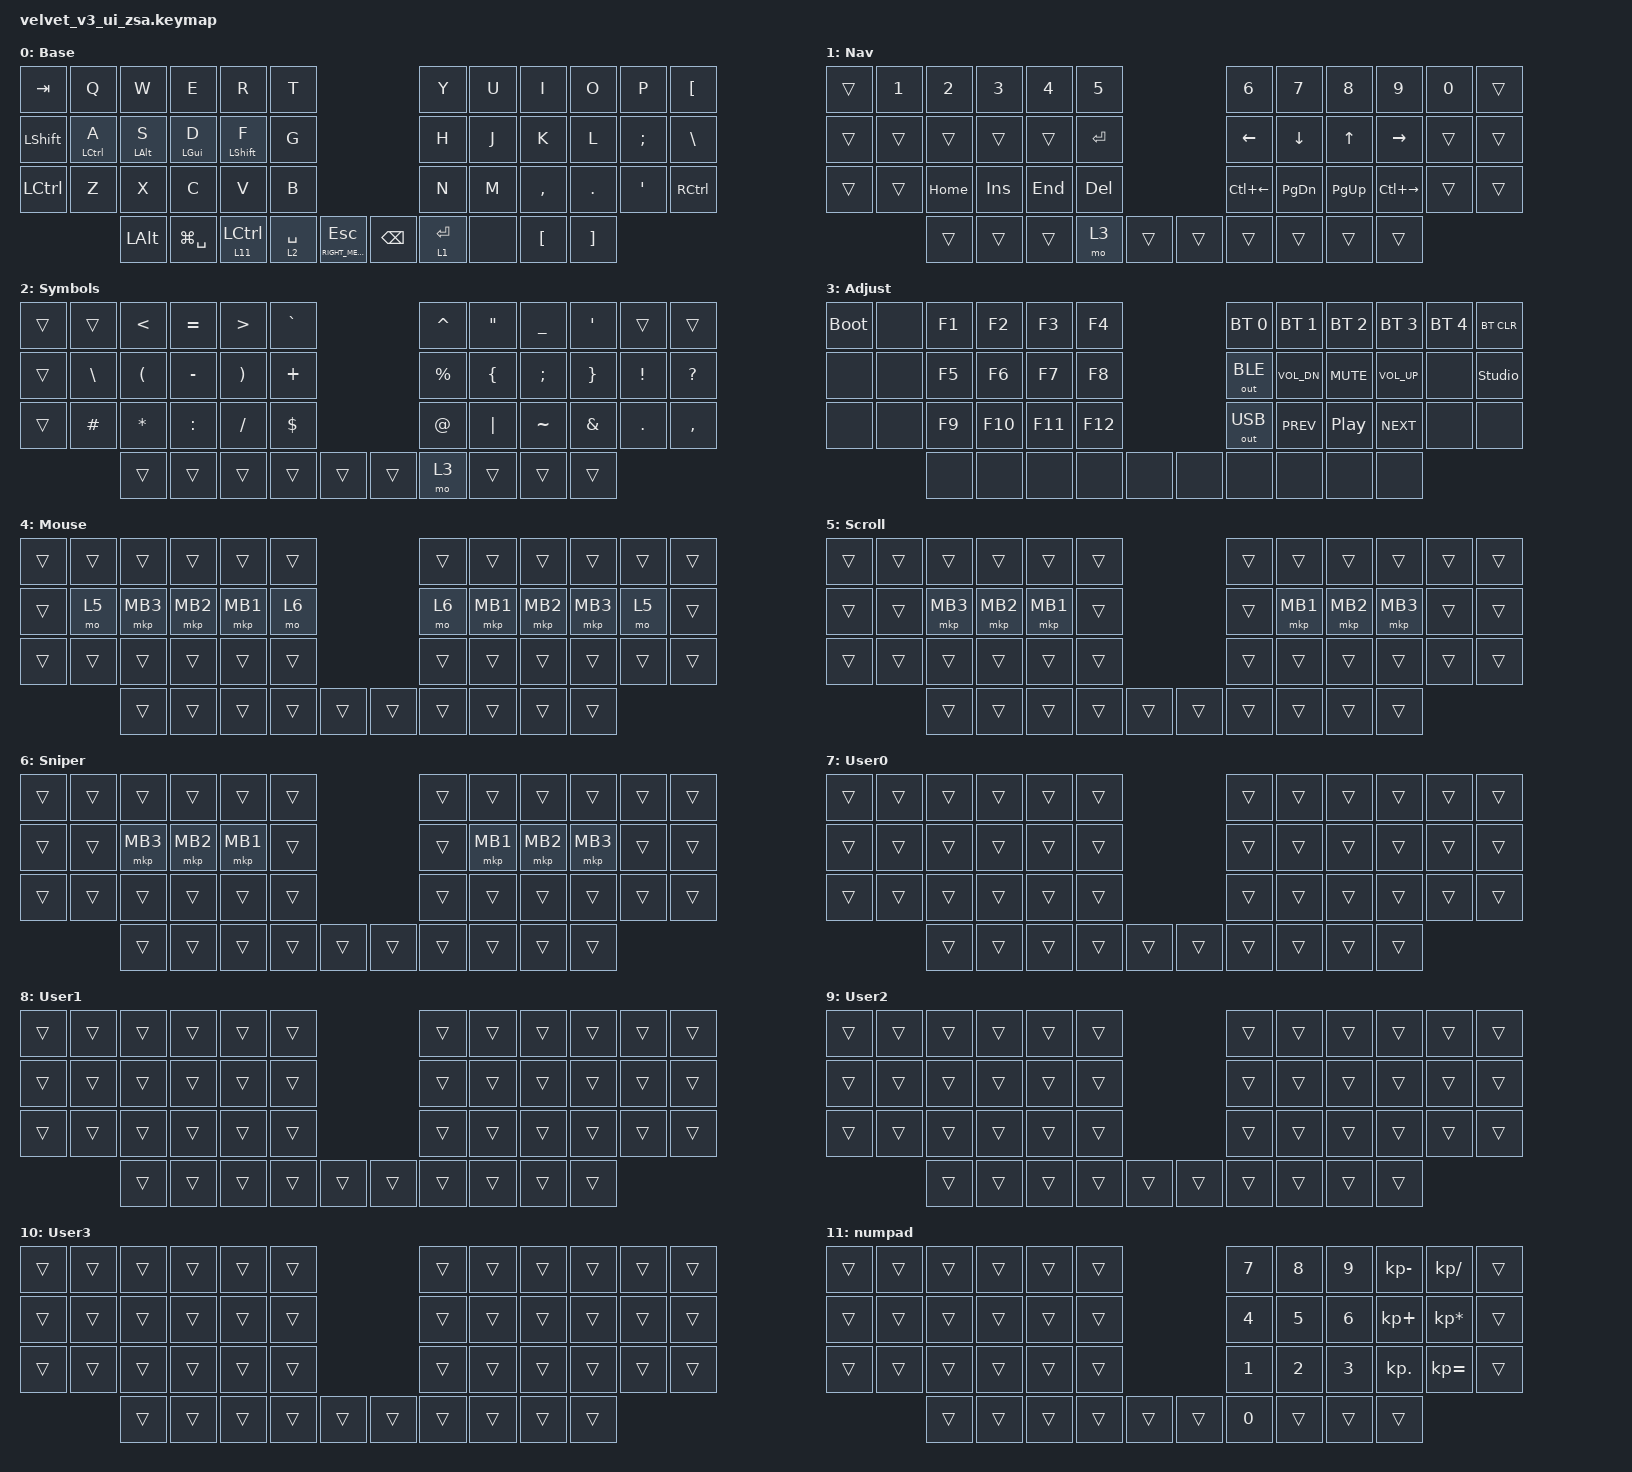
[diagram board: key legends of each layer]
/*
 * Velvet v3 UI - ZSA Voyager-style BASE layer (ZMK port)
 *
 * Identical to velvet_v3_ui.keymap except for the `base` layer, which is
 * a port of the QWERTY base from the ZSA Voyager keymap (zsa_voyager_DwR0b):
 *   - Left-hand home-row mods on A/S/D/F (LCTL/LALT/LGUI/LSFT)
 *   - Inner thumbs match Voyager: LT(1,SPACE) / MT(LGUI,ESC) and
 *     MT(RGUI,BSPC) / LT(2,ENTER). Note that layer 1 in this file is `nav`
 *     and layer 2 is `sym` (matching the rest of the repo), which inverts
 *     Voyager's numbering — keep that in mind.
 *   - MT(RALT, /) on the bottom-right alpha column
 *   - Quote tap-dance on the right-side ; -position: tap = ', double-tap
 *     jumps to User0 (layer 7 in this file).
 *   - The 3 extra thumb slots per side that don't exist on Voyager are
 *     filled with LCTRL/LSHFT/LALT (left) and DEL / [ / ] (right).
 *
 * All other layers (nav, sym, adj, mouse, scroll, sniper, User0..User3)
 * and trackball wiring are unchanged from velvet_v3_ui.keymap.
 */

#include "keys_ru.h"
#include <dt-bindings/zmk/input_transform.h>
#include <input/processors.dtsi>
#include <zephyr/dt-bindings/input/input-event-codes.h>
#include <behaviors.dtsi>
#include <dt-bindings/zmk/bt.h>
#include <dt-bindings/zmk/keys.h>
#include <dt-bindings/zmk/outputs.h>
#include <dt-bindings/zmk/pointing.h>

/ {
    behaviors {
        cap_sen: cap_sen {
            compatible = "zmk,behavior-hold-tap";
            label = "CAP_SEN";
            bindings = <&mo>, <&mkp>;

            #binding-cells = <2>;
            tapping-term-ms = <150>;
            hold-while-undecided;
        };

        mouse_layer: mouse_layer {
            compatible = "zmk,behavior-sticky-key";
            label = "MOUSE_LAYER";
            bindings = <&mo>;
            #binding-cells = <1>;
            release-after-ms = <200>;
        };

        hold_or_tap: hold_or_tap {
            compatible = "zmk,behavior-hold-tap";
            label = "HOLD_OR_TAP";
            bindings = <&kp>, <&kp>;

            #binding-cells = <2>;
            tapping-term-ms = <200>;
            quick-tap-ms = <150>;
            flavor = "tap-preferred";
            require-prior-idle-ms = <125>;
        };

        layer_tap_enter: layer_tap_enter {
            compatible = "zmk,behavior-hold-tap";
            label = "LAYER_TAP_ENTER";
            bindings = <&mo>, <&kp>;

            #binding-cells = <2>;
            tapping-term-ms = <200>;
            quick-tap-ms = <175>;
            require-prior-idle-ms = <125>;
            flavor = "tap-preferred";
        };

        zip_auto_mouse: zip_auto_mouse {
            compatible = "zmk,input-processor-temp-layer";
            #input-processor-cells = <2>;
            require-prior-idle-ms = <800>;
            excluded-positions = <>;
        };

        /* Voyager-style left-hand home row mods on A/S/D/F. */

        hrm: hrm {
            compatible = "zmk,behavior-hold-tap";
            label = "HOME_ROW_MOD";
            bindings = <&kp>, <&kp>;

            #binding-cells = <2>;
            tapping-term-ms = <200>;
            quick-tap-ms = <150>;
            require-prior-idle-ms = <125>;
            flavor = "tap-preferred";
        };

        /*
         * Voyager TD(DANCE_0): single tap = ', double tap jumps to User0
         * (layer 7 in this repo's velvet keymap).
         */

        quote_td: quote_td {
            compatible = "zmk,behavior-tap-dance";
            label = "QUOTE_TD";
            #binding-cells = <0>;
            tapping-term-ms = <200>;
            bindings = <&kp SQT>, <&to 7>;
        };
    };

    keymap {
        compatible = "zmk,keymap";

        /*
         *  ZSA Voyager base layer translated to Velvet UI:
         *
         *   TAB    Q      W      E      R      T          |    Y    U    I    O    P     [
         *   LSHFT  A(LCTL) S(LALT) D(LGUI) F(LSFT) G       |    H    J    K    L    ;     '/L7
         *   LCTRL  Z      X      C      V      B           |    N    M    ,    .    /(RA) RCTRL
         *                LALT  LSHFT  LCTRL ESC(LGUI)  SPC(L1) | BSPC(RGUI)  RET(L2)  DEL  [   ]
         */

        base {
            bindings = <
&kp TAB    &kp Q         &kp W        &kp E          &kp R         &kp T                                             &kp Y      &kp U  &kp I      &kp O     &kp P     &kp LBKT
&kp LSHFT  &hrm LCTRL A  &hrm LALT S  &hrm LGUI D    &hrm LSHFT F  &kp G                                             &kp H      &kp J  &kp K      &kp L     &kp SEMI  &kp BACKSLASH
&kp LCTRL  &kp Z         &kp X        &kp C          &kp V         &kp B                                             &kp N      &kp M  &kp COMMA  &kp DOT   &kp SQT   &kp RCTRL
                         &kp LALT     &kp LG(SPACE)  &lt 11 LCTRL  &lt 2 SPACE  &mt RIGHT_META ESC    &kp BACKSPACE  &lt 1 RET  &none  &kp LBKT   &kp RBKT
            >;

            display-name = "Base";
        };

        nav {
            bindings = <
&trans  &kp N1  &kp N2    &kp N3   &kp N4   &kp N5                     &kp N6          &kp N7         &kp N8     &kp N9         &kp N0  &trans
&trans  &trans  &trans    &trans   &trans   &kp RET                    &kp LEFT_ARROW  &kp DOWN       &kp UP     &kp RIGHT      &trans  &trans
&trans  &trans  &kp HOME  &kp INS  &kp END  &kp DEL                    &kp LC(LEFT)    &kp PAGE_DOWN  &kp PG_UP  &kp LC(RIGHT)  &trans  &trans
                &trans    &trans   &trans   &mo 3    &trans    &trans  &trans          &trans         &trans     &trans
            >;

            display-name = "Nav";
        };

        sym {
            bindings = <
&trans  &trans    &kp LT    &kp EQUAL  &kp GT    &kp GRAVE                    &kp CARET  &kp DQT   &kp UNDER  &kp SQT   &trans    &trans
&trans  &kp BSLH  &kp LPAR  &kp MINUS  &kp RPAR  &kp PLUS                     &kp PRCNT  &kp LBRC  &kp SEMI   &kp RBRC  &kp EXCL  &kp QUESTION
&trans  &kp HASH  &kp STAR  &kp COLON  &kp FSLH  &kp DLLR                     &kp AT     &kp PIPE  &kp TILDE  &kp AMPS  &kp DOT   &kp COMMA
                  &trans    &trans     &trans    &trans     &trans    &trans  &mo 3      &trans    &trans     &trans
            >;

            display-name = "Symbols";
        };

        adj {
            bindings = <
&bootloader  &none  &kp F1  &kp F2   &kp F3   &kp F4                   &bt BT_SEL 0  &bt BT_SEL 1  &bt BT_SEL 2      &bt BT_SEL 3  &bt BT_SEL 4  &bt BT_CLR
&none        &none  &kp F5  &kp F6   &kp F7   &kp F8                   &out OUT_BLE  &kp C_VOL_DN  &kp C_MUTE        &kp C_VOL_UP  &none         &studio_unlock
&none        &none  &kp F9  &kp F10  &kp F11  &kp F12                  &out OUT_USB  &kp C_PREV    &kp C_PLAY_PAUSE  &kp C_NEXT    &none         &none
                    &none   &none    &none    &none    &none    &none  &none         &none         &none             &none
            >;

            display-name = "Adjust";
        };

        mouse {
            bindings = <
&trans  &trans  &trans    &trans    &trans    &trans                    &trans  &trans    &trans    &trans    &trans  &trans
&trans  &mo 5   &mkp MB3  &mkp MB2  &mkp MB1  &mo 6                     &mo 6   &mkp MB1  &mkp MB2  &mkp MB3  &mo 5   &trans
&trans  &trans  &trans    &trans    &trans    &trans                    &trans  &trans    &trans    &trans    &trans  &trans
                &trans    &trans    &trans    &trans  &trans    &trans  &trans  &trans    &trans    &trans
            >;

            display-name = "Mouse";
        };

        scroll {
            bindings = <
&trans  &trans  &trans    &trans    &trans    &trans                    &trans  &trans    &trans    &trans    &trans  &trans
&trans  &trans  &mkp MB3  &mkp MB2  &mkp MB1  &trans                    &trans  &mkp MB1  &mkp MB2  &mkp MB3  &trans  &trans
&trans  &trans  &trans    &trans    &trans    &trans                    &trans  &trans    &trans    &trans    &trans  &trans
                &trans    &trans    &trans    &trans  &trans    &trans  &trans  &trans    &trans    &trans
            >;

            display-name = "Scroll";
        };

        sniper {
            bindings = <
&trans  &trans  &trans    &trans    &trans    &trans                    &trans  &trans    &trans    &trans    &trans  &trans
&trans  &trans  &mkp MB3  &mkp MB2  &mkp MB1  &trans                    &trans  &mkp MB1  &mkp MB2  &mkp MB3  &trans  &trans
&trans  &trans  &trans    &trans    &trans    &trans                    &trans  &trans    &trans    &trans    &trans  &trans
                &trans    &trans    &trans    &trans  &trans    &trans  &trans  &trans    &trans    &trans
            >;

            display-name = "Sniper";
        };

        User0 {
            bindings = <
&trans  &trans  &trans  &trans  &trans  &trans                    &trans  &trans  &trans  &trans  &trans  &trans
&trans  &trans  &trans  &trans  &trans  &trans                    &trans  &trans  &trans  &trans  &trans  &trans
&trans  &trans  &trans  &trans  &trans  &trans                    &trans  &trans  &trans  &trans  &trans  &trans
                &trans  &trans  &trans  &trans  &trans    &trans  &trans  &trans  &trans  &trans
            >;

            display-name = "User0";
        };

        User1 {
            bindings = <
&trans  &trans  &trans  &trans  &trans  &trans                    &trans  &trans  &trans  &trans  &trans  &trans
&trans  &trans  &trans  &trans  &trans  &trans                    &trans  &trans  &trans  &trans  &trans  &trans
&trans  &trans  &trans  &trans  &trans  &trans                    &trans  &trans  &trans  &trans  &trans  &trans
                &trans  &trans  &trans  &trans  &trans    &trans  &trans  &trans  &trans  &trans
            >;

            display-name = "User1";
        };

        User2 {
            bindings = <
&trans  &trans  &trans  &trans  &trans  &trans                    &trans  &trans  &trans  &trans  &trans  &trans
&trans  &trans  &trans  &trans  &trans  &trans                    &trans  &trans  &trans  &trans  &trans  &trans
&trans  &trans  &trans  &trans  &trans  &trans                    &trans  &trans  &trans  &trans  &trans  &trans
                &trans  &trans  &trans  &trans  &trans    &trans  &trans  &trans  &trans  &trans
            >;

            display-name = "User2";
        };

        User3 {
            bindings = <
&trans  &trans  &trans  &trans  &trans  &trans                    &trans  &trans  &trans  &trans  &trans  &trans
&trans  &trans  &trans  &trans  &trans  &trans                    &trans  &trans  &trans  &trans  &trans  &trans
&trans  &trans  &trans  &trans  &trans  &trans                    &trans  &trans  &trans  &trans  &trans  &trans
                &trans  &trans  &trans  &trans  &trans    &trans  &trans  &trans  &trans  &trans
            >;

            display-name = "User3";
        };

        numpad {
            bindings = <
&trans  &trans  &trans  &trans  &trans  &trans                    &kp N7  &kp N8        &kp N9  &kp KP_SUBTRACT  &kp KP_DIVIDE    &trans
&trans  &trans  &trans  &trans  &trans  &trans                    &kp N4  &kp N5        &kp N6  &kp KP_PLUS      &kp KP_MULTIPLY  &trans
&trans  &trans  &trans  &trans  &trans  &trans                    &kp N1  &kp NUMBER_2  &kp N3  &kp KP_DOT       &kp KP_EQUAL     &trans
                &trans  &trans  &trans  &trans  &trans    &trans  &kp N0  &trans        &trans  &trans
            >;
        };
    };
};

&trackball { cpi = <1000>; };

&trackball_listener {
    input-processors = <&zip_auto_mouse 4 500>, <&zip_xy_scaler 9 20>;

    scroller {
        layers = <5>;
        input-processors =
            <&zip_xy_transform INPUT_TRANSFORM_Y_INVERT>,
            <&zip_xy_scaler 1 32>,
            <&zip_xy_to_scroll_mapper>;
    };

    sniper {
        layers = <6>;
        input-processors = <&zip_xy_scaler 1 4>;
    };
};

